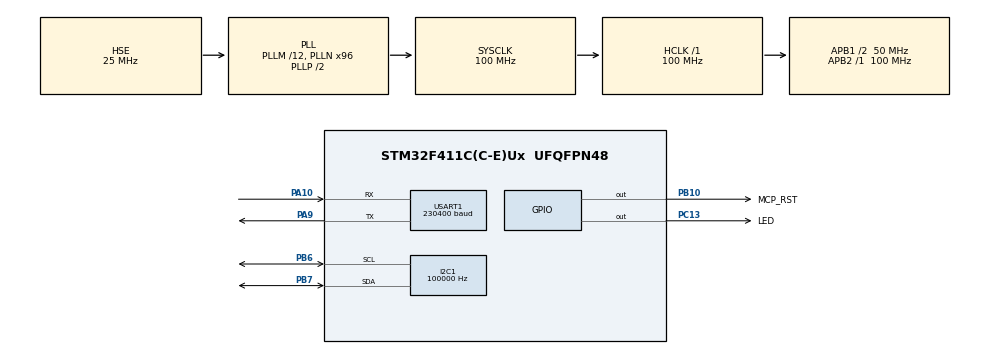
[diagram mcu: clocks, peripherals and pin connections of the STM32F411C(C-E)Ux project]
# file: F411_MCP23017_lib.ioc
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Mcu.Family=STM32F4
RCC.PLLSourceVirtual=RCC_PLLSOURCE_HSE
PB10.PinState=GPIO_PIN_RESET
RCC.CortexFreq_Value=100000000
PA10.Mode=Asynchronous
PC13-ANTI_TAMP.GPIO_PuPd=GPIO_NOPULL
PB10.GPIO_PuPd=GPIO_NOPULL
PC13-ANTI_TAMP.GPIO_Label=LED
USART1.BaudRate=230400
PH1\ -\ OSC_OUT.Mode=HSE-External-Oscillator
RCC.APB1CLKDivider=RCC_HCLK_DIV2
RCC.SYSCLKSource=RCC_SYSCLKSOURCE_PLLCLK
ProjectManager.StackSize=0x400
PA13.Signal=SYS_JTMS-SWDIO
PA9.Mode=Asynchronous
PH0\ -\ OSC_IN.Mode=HSE-External-Oscillator
PH0\ -\ OSC_IN.Signal=RCC_OSC_IN
I2C1.ClockSpeed=100000
ProjectManager.TargetToolchain=STM32CubeIDE
PB10.GPIO_Label=MCP_RST
I2C1.I2C_Mode=I2C_Standard
RCC.HCLKFreq_Value=100000000
RCC.APB2TimFreq_Value=100000000
PA9.Signal=USART1_TX
PB6.Signal=I2C1_SCL
PB6.Mode=I2C
RCC.LSE_VALUE=32768
RCC.AHBFreq_Value=100000000
PB10.Signal=GPIO_Output
RCC.HSE_VALUE=25000000
PH1\ -\ OSC_OUT.Signal=RCC_OSC_OUT
board=custom
PC13-ANTI_TAMP.Signal=GPIO_Output
RCC.VCOOutputFreq_Value=200000000
RCC.APB2Freq_Value=100000000
PA14.Mode=Serial_Wire
PB7.Signal=I2C1_SDA
PA13.Mode=Serial_Wire
Mcu.Name=STM32F411C(C-E)Ux
RCC.48MHZClocksFreq_Value=50000000
RCC.SYSCLKFreq_VALUE=100000000
Mcu.Package=UFQFPN48
USART1.VirtualMode=VM_ASYNC
PB7.Mode=I2C
PA10.Signal=USART1_RX
PA14.Signal=SYS_JTCK-SWCLK
ProjectManager.HeapSize=0x200
RCC.HSI_VALUE=16000000
NVIC.PriorityGroup=NVIC_PRIORITYGROUP_4
RCC.PLLM=12
RCC.PLLN=96
RCC.APB1TimFreq_Value=100000000
RCC.APB1Freq_Value=50000000

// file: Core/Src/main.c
/* USER CODE BEGIN Header */
/**
  ******************************************************************************
  * @file           : main.c
  * @brief          : Main program body
  ******************************************************************************
  * @attention
  *
  * <h2><center>&copy; Copyright (c) 2021 STMicroelectronics.
  * All rights reserved.</center></h2>
  *
  * This software component is licensed by ST under BSD 3-Clause license,
  * the "License"; You may not use this file except in compliance with the
  * License. You may obtain a copy of the License at:
  *                        opensource.org/licenses/BSD-3-Clause
  *
  ******************************************************************************
  */
/* USER CODE END Header */
#include "main.h"

I2C_HandleTypeDef hi2c1;

UART_HandleTypeDef huart1;

void SystemClock_Config(void);
static void MX_GPIO_Init(void);
static void MX_I2C1_Init(void);
static void MX_USART1_UART_Init(void);

int main(void)
{

  /* MCU Configuration--------------------------------------------------------*/

  /* Reset of all peripherals, Initializes the Flash interface and the Systick. */
  HAL_Init();

  /* Configure the system clock */
  SystemClock_Config();

  /* Initialize all configured peripherals */
  MX_GPIO_Init();
  MX_I2C1_Init();
  MX_USART1_UART_Init();
  /* USER CODE BEGIN 2 */
  HAL_Delay(2500);
  mcp_init();

  /* Init and fill MCP initialization structure */
  MCP_PinConfig pin_conf = {0};

  pin_conf.mode         = MCP_PIN_Mode_Out;
  pin_conf.membank      = MCP_PIN_MemBank_Divide_Off;
  pin_conf.out.pinval   = MCP_PIN_Out_PinVal_1;

#ifdef DEBUGMODE
  uart_print("IODIRA = %x", mcp_read_reg(MCP_IODIRA) );
  uart_print("IODIRB = %x", mcp_read_reg(MCP_IODIRB) );
#endif

  if ( mcp_pin_config(&pin_conf, MCP_PORT_B, (MCP_PIN_0 | MCP_PIN_2 | MCP_PIN_3) ) == MCP_ERR )
      uart_print("Error");
  else
      uart_print("Success");

  if ( mcp_pin_config(&pin_conf, MCP_PORT_A, (MCP_PIN_1 | MCP_PIN_3 | MCP_PIN_4) ) == MCP_ERR )
      uart_print("Error");
  else
      uart_print("Success");

  pin_conf.mode                 = MCP_PIN_Mode_In;
  pin_conf.in.pullup            = MCP_PIN_In_PullUp_Off;
  pin_conf.in.polar             = MCP_PIN_In_Polar_Same;

  pin_conf.in.interrupt.state   = MCP_PIN_In_Int_State_On;
  pin_conf.in.interrupt.mode    = MCP_PIN_In_Int_Mode_ActDriver;
  pin_conf.in.interrupt.pinlvl  = MCP_PIN_In_Int_PinLvl_Low;
  pin_conf.in.interrupt.mirror  = MCP_PIN_In_Int_Mirror_On;
  pin_conf.in.interrupt.compare = MCP_PIN_In_Int_Comp_Prev;

  if ( mcp_pin_config(&pin_conf, MCP_PORT_B, MCP_PIN_1 ) == MCP_ERR )
      uart_print("Error");
  else
      uart_print("Success");

#ifdef DEBUGMODE
  uart_print("GPIOA = %x", mcp_read_reg(MCP_GPIOA) );
  uart_print("GPIOB = %x", mcp_read_reg(MCP_GPIOB) );
#endif

  HAL_GPIO_WritePin(LED_GPIO_Port, LED_Pin, GPIO_PIN_SET);

  /* USER CODE END 2 */

  /* Infinite loop */
  /* USER CODE BEGIN WHILE */
  while (1)
  {
#ifdef DEBUGMODE
  uart_print("INTFB = %x", mcp_read_reg(MCP_INTFB) );
  uart_print("INTCAPB = %x", mcp_read_reg(MCP_INTCAPB) );
  uart_print("GPIOB = %x\n", mcp_read_reg(MCP_GPIOB) );
  HAL_Delay(750);
#endif
    /* USER CODE END WHILE */

  }
}

void SystemClock_Config(void)
{
  RCC_OscInitTypeDef RCC_OscInitStruct = {0};
  RCC_ClkInitTypeDef RCC_ClkInitStruct = {0};

  /** Configure the main internal regulator output voltage
  */
  __HAL_RCC_PWR_CLK_ENABLE();
  __HAL_PWR_VOLTAGESCALING_CONFIG(PWR_REGULATOR_VOLTAGE_SCALE1);
  /** Initializes the RCC Oscillators according to the specified parameters
  * in the RCC_OscInitTypeDef structure.
  */
  RCC_OscInitStruct.OscillatorType = RCC_OSCILLATORTYPE_HSE;
  RCC_OscInitStruct.HSEState = RCC_HSE_ON;
  RCC_OscInitStruct.PLL.PLLState = RCC_PLL_ON;
  RCC_OscInitStruct.PLL.PLLSource = RCC_PLLSOURCE_HSE;
  RCC_OscInitStruct.PLL.PLLM = 12;
  RCC_OscInitStruct.PLL.PLLN = 96;
  RCC_OscInitStruct.PLL.PLLP = RCC_PLLP_DIV2;
  RCC_OscInitStruct.PLL.PLLQ = 4;
  if (HAL_RCC_OscConfig(&RCC_OscInitStruct) != HAL_OK)
  {
    Error_Handler();
  }
  /** Initializes the CPU, AHB and APB buses clocks
  */
  RCC_ClkInitStruct.ClockType = RCC_CLOCKTYPE_HCLK|RCC_CLOCKTYPE_SYSCLK
                              |RCC_CLOCKTYPE_PCLK1|RCC_CLOCKTYPE_PCLK2;
  RCC_ClkInitStruct.SYSCLKSource = RCC_SYSCLKSOURCE_PLLCLK;
  RCC_ClkInitStruct.AHBCLKDivider = RCC_SYSCLK_DIV1;
  RCC_ClkInitStruct.APB1CLKDivider = RCC_HCLK_DIV2;
  RCC_ClkInitStruct.APB2CLKDivider = RCC_HCLK_DIV1;

  if (HAL_RCC_ClockConfig(&RCC_ClkInitStruct, FLASH_LATENCY_3) != HAL_OK)
  {
    Error_Handler();
  }
}

static void MX_I2C1_Init(void)
{

  hi2c1.Instance = I2C1;
  hi2c1.Init.ClockSpeed = 100000;
  hi2c1.Init.DutyCycle = I2C_DUTYCYCLE_2;
  hi2c1.Init.OwnAddress1 = 0;
  hi2c1.Init.AddressingMode = I2C_ADDRESSINGMODE_7BIT;
  hi2c1.Init.DualAddressMode = I2C_DUALADDRESS_DISABLE;
  hi2c1.Init.OwnAddress2 = 0;
  hi2c1.Init.GeneralCallMode = I2C_GENERALCALL_DISABLE;
  hi2c1.Init.NoStretchMode = I2C_NOSTRETCH_DISABLE;
  if (HAL_I2C_Init(&hi2c1) != HAL_OK)
  {
    Error_Handler();
  }

}

static void MX_USART1_UART_Init(void)
{

  huart1.Instance = USART1;
  huart1.Init.BaudRate = 230400;
  huart1.Init.WordLength = UART_WORDLENGTH_8B;
  huart1.Init.StopBits = UART_STOPBITS_1;
  huart1.Init.Parity = UART_PARITY_NONE;
  huart1.Init.Mode = UART_MODE_TX_RX;
  huart1.Init.HwFlowCtl = UART_HWCONTROL_NONE;
  huart1.Init.OverSampling = UART_OVERSAMPLING_16;
  if (HAL_UART_Init(&huart1) != HAL_OK)
  {
    Error_Handler();
  }

}

static void MX_GPIO_Init(void)
{
  GPIO_InitTypeDef GPIO_InitStruct = {0};

  /* GPIO Ports Clock Enable */
  __HAL_RCC_GPIOC_CLK_ENABLE();
  __HAL_RCC_GPIOH_CLK_ENABLE();
  __HAL_RCC_GPIOB_CLK_ENABLE();
  __HAL_RCC_GPIOA_CLK_ENABLE();

  /*Configure GPIO pin Output Level */
  HAL_GPIO_WritePin(LED_GPIO_Port, LED_Pin, GPIO_PIN_RESET);

  /*Configure GPIO pin Output Level */
  HAL_GPIO_WritePin(MCP_RST_GPIO_Port, MCP_RST_Pin, GPIO_PIN_RESET);

  /*Configure GPIO pin : LED_Pin */
  GPIO_InitStruct.Pin = LED_Pin;
  GPIO_InitStruct.Mode = GPIO_MODE_OUTPUT_PP;
  GPIO_InitStruct.Pull = GPIO_NOPULL;
  GPIO_InitStruct.Speed = GPIO_SPEED_FREQ_LOW;
  HAL_GPIO_Init(LED_GPIO_Port, &GPIO_InitStruct);

  /*Configure GPIO pin : MCP_RST_Pin */
  GPIO_InitStruct.Pin = MCP_RST_Pin;
  GPIO_InitStruct.Mode = GPIO_MODE_OUTPUT_PP;
  GPIO_InitStruct.Pull = GPIO_NOPULL;
  GPIO_InitStruct.Speed = GPIO_SPEED_FREQ_LOW;
  HAL_GPIO_Init(MCP_RST_GPIO_Port, &GPIO_InitStruct);

}

void Error_Handler(void)
{
  __disable_irq();
  while (1)
  {
  }
}

/************************ (C) COPYRIGHT STMicroelectronics *****END OF FILE****/
